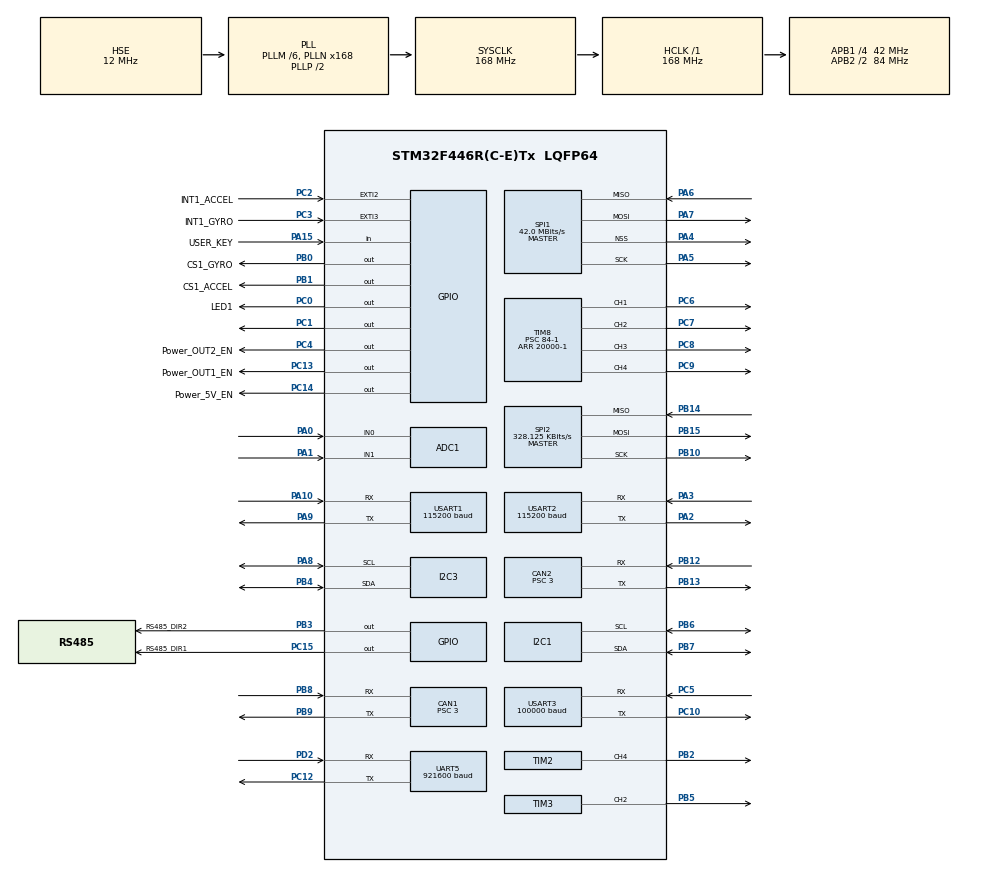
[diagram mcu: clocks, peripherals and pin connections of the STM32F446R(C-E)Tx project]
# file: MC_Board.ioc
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ADC1.Channel-0\#ChannelRegularConversion=ADC_CHANNEL_0
ADC1.NbrOfConversionFlag=1
ADC1.Rank-0\#ChannelRegularConversion=1
ADC1.SamplingTime-0\#ChannelRegularConversion=ADC_SAMPLETIME_3CYCLES
ADC1.master=1
CAN1.ABOM=ENABLE
CAN1.BS1=CAN_BS1_10TQ
CAN1.BS2=CAN_BS2_3TQ
CAN1.CalculateBaudRate=1000000
CAN1.CalculateTimeBit=1000
CAN1.CalculateTimeQuantum=71.42857142857143
CAN1.NART=ENABLE
CAN1.Prescaler=3
CAN1.SJW=CAN_SJW_1TQ
CAN2.BS1=CAN_BS1_10TQ
CAN2.BS2=CAN_BS2_3TQ
CAN2.CalculateBaudRate=1000000
CAN2.CalculateTimeBit=1000
CAN2.CalculateTimeQuantum=71.42857142857143
CAN2.Prescaler=3
CAN2.SJW=CAN_SJW_2TQ
Dma.Request0=USART2_TX
Dma.Request1=USART2_RX
Dma.Request2=SPI2_RX
Dma.Request3=SPI2_TX
Dma.Request4=UART5_RX
Dma.Request5=UART5_TX
Dma.SPI2_RX.2.Direction=DMA_PERIPH_TO_MEMORY
Dma.SPI2_RX.2.FIFOMode=DMA_FIFOMODE_DISABLE
Dma.SPI2_RX.2.Instance=DMA1_Stream3
Dma.SPI2_RX.2.MemDataAlignment=DMA_MDATAALIGN_BYTE
Dma.SPI2_RX.2.MemInc=DMA_MINC_ENABLE
Dma.SPI2_RX.2.Mode=DMA_NORMAL
Dma.SPI2_RX.2.PeriphDataAlignment=DMA_PDATAALIGN_BYTE
Dma.SPI2_RX.2.PeriphInc=DMA_PINC_DISABLE
Dma.SPI2_RX.2.Priority=DMA_PRIORITY_VERY_HIGH
Dma.SPI2_TX.3.Direction=DMA_MEMORY_TO_PERIPH
Dma.SPI2_TX.3.FIFOMode=DMA_FIFOMODE_DISABLE
Dma.SPI2_TX.3.Instance=DMA1_Stream4
Dma.SPI2_TX.3.MemDataAlignment=DMA_MDATAALIGN_BYTE
Dma.SPI2_TX.3.MemInc=DMA_MINC_ENABLE
Dma.SPI2_TX.3.Mode=DMA_NORMAL
Dma.SPI2_TX.3.PeriphDataAlignment=DMA_PDATAALIGN_BYTE
Dma.SPI2_TX.3.PeriphInc=DMA_PINC_DISABLE
Dma.SPI2_TX.3.Priority=DMA_PRIORITY_HIGH
Dma.UART5_RX.4.Direction=DMA_PERIPH_TO_MEMORY
Dma.UART5_RX.4.FIFOMode=DMA_FIFOMODE_DISABLE
Dma.UART5_RX.4.Instance=DMA1_Stream0
Dma.UART5_RX.4.MemDataAlignment=DMA_MDATAALIGN_BYTE
Dma.UART5_RX.4.MemInc=DMA_MINC_ENABLE
Dma.UART5_RX.4.Mode=DMA_NORMAL
Dma.UART5_RX.4.PeriphDataAlignment=DMA_PDATAALIGN_BYTE
Dma.UART5_RX.4.PeriphInc=DMA_PINC_DISABLE
Dma.UART5_RX.4.Priority=DMA_PRIORITY_VERY_HIGH
Dma.UART5_TX.5.Direction=DMA_MEMORY_TO_PERIPH
Dma.UART5_TX.5.FIFOMode=DMA_FIFOMODE_DISABLE
Dma.UART5_TX.5.Instance=DMA1_Stream7
Dma.UART5_TX.5.MemDataAlignment=DMA_MDATAALIGN_BYTE
Dma.UART5_TX.5.MemInc=DMA_MINC_ENABLE
Dma.UART5_TX.5.Mode=DMA_NORMAL
Dma.UART5_TX.5.PeriphDataAlignment=DMA_PDATAALIGN_BYTE
Dma.UART5_TX.5.PeriphInc=DMA_PINC_DISABLE
Dma.UART5_TX.5.Priority=DMA_PRIORITY_VERY_HIGH
Dma.USART2_RX.1.Direction=DMA_PERIPH_TO_MEMORY
Dma.USART2_RX.1.FIFOMode=DMA_FIFOMODE_DISABLE
Dma.USART2_RX.1.Instance=DMA1_Stream5
Dma.USART2_RX.1.MemDataAlignment=DMA_MDATAALIGN_BYTE
Dma.USART2_RX.1.MemInc=DMA_MINC_ENABLE
Dma.USART2_RX.1.Mode=DMA_NORMAL
Dma.USART2_RX.1.PeriphDataAlignment=DMA_PDATAALIGN_BYTE
Dma.USART2_RX.1.PeriphInc=DMA_PINC_DISABLE
Dma.USART2_RX.1.Priority=DMA_PRIORITY_MEDIUM
Dma.USART2_TX.0.Direction=DMA_MEMORY_TO_PERIPH
Dma.USART2_TX.0.FIFOMode=DMA_FIFOMODE_DISABLE
Dma.USART2_TX.0.Instance=DMA1_Stream6
Dma.USART2_TX.0.MemDataAlignment=DMA_MDATAALIGN_BYTE
Dma.USART2_TX.0.MemInc=DMA_MINC_ENABLE
Dma.USART2_TX.0.Mode=DMA_NORMAL
Dma.USART2_TX.0.PeriphDataAlignment=DMA_PDATAALIGN_BYTE
Dma.USART2_TX.0.PeriphInc=DMA_PINC_DISABLE
Dma.USART2_TX.0.Priority=DMA_PRIORITY_MEDIUM
FREERTOS.Tasks01=defaultTask,24,3000,StartDefaultTask,Default,NULL,Static,defaultTaskBuffer,defaultTaskControlBlock;LEDTask,8,128,StartTask02,Default,NULL,Dynamic,NULL,NULL;UART_TEST,8,256,StartTask03,Default,NULL,Dynamic,NULL,NULL
FREERTOS.configLIBRARY_MAX_SYSCALL_INTERRUPT_PRIORITY=5
FREERTOS.configTOTAL_HEAP_SIZE=46080
Mcu.Family=STM32F4
Mcu.Name=STM32F446R(C-E)Tx
Mcu.Package=LQFP64
NVIC.CAN1_RX0_IRQn=true\:3\:0\:true\:false\:true\:false\:true\:true\:true
NVIC.CAN1_TX_IRQn=true\:4\:0\:true\:false\:true\:false\:true\:true\:true
NVIC.CAN2_RX0_IRQn=true\:3\:0\:true\:false\:true\:false\:true\:true\:true
NVIC.CAN2_TX_IRQn=true\:4\:0\:true\:false\:true\:false\:true\:true\:true
NVIC.DMA1_Stream0_IRQn=true\:5\:0\:false\:false\:true\:true\:false\:true\:true
NVIC.DMA1_Stream3_IRQn=true\:5\:0\:false\:false\:false\:true\:false\:true\:true
NVIC.DMA1_Stream4_IRQn=true\:5\:0\:false\:false\:true\:true\:false\:true\:true
NVIC.DMA1_Stream5_IRQn=true\:5\:0\:false\:false\:true\:true\:false\:true\:true
NVIC.DMA1_Stream6_IRQn=true\:5\:0\:false\:false\:true\:true\:false\:true\:true
NVIC.DMA1_Stream7_IRQn=true\:5\:0\:false\:false\:true\:true\:false\:true\:true
NVIC.EXTI2_IRQn=true\:5\:0\:true\:false\:true\:false\:true\:true\:true
NVIC.EXTI3_IRQn=true\:5\:0\:true\:false\:true\:false\:true\:true\:true
NVIC.PriorityGroup=NVIC_PRIORITYGROUP_4
NVIC.TIM7_IRQn=true\:10\:0\:true\:false\:true\:false\:true\:true\:true
NVIC.TIM8_TRG_COM_TIM14_IRQn=true\:5\:0\:false\:false\:true\:false\:false\:true\:true
NVIC.UART5_IRQn=true\:5\:0\:true\:false\:true\:false\:true\:true\:true
NVIC.USART1_IRQn=true\:4\:0\:true\:false\:true\:false\:true\:true\:true
NVIC.USART2_IRQn=true\:4\:0\:true\:false\:true\:false\:true\:true\:true
NVIC.USART3_IRQn=true\:4\:0\:true\:false\:true\:false\:true\:true\:true
PA0-WKUP.GPIO_Mode=GPIO_MODE_ANALOG
PA0-WKUP.GPIO_PuPd=GPIO_NOPULL
PA0-WKUP.Signal=ADCx_IN0
PA1.GPIO_Mode=GPIO_MODE_ANALOG
PA1.GPIO_PuPd=GPIO_NOPULL
PA1.Signal=ADCx_IN1
PA10.Mode=Asynchronous
PA10.Signal=USART1_RX
PA13.Mode=Serial_Wire
PA13.Signal=SYS_JTMS-SWDIO
PA14.Mode=Serial_Wire
PA14.Signal=SYS_JTCK-SWCLK
PA15.GPIO_Label=USER_KEY
PA15.Signal=GPIO_Input
PA2.Mode=Asynchronous
PA2.Signal=USART2_TX
PA3.Mode=Asynchronous
PA3.Signal=USART2_RX
PA4.Mode=NSS_Signal_Hard_Output
PA4.Signal=SPI1_NSS
PA5.Mode=Full_Duplex_Master
PA5.Signal=SPI1_SCK
PA6.Mode=Full_Duplex_Master
PA6.Signal=SPI1_MISO
PA7.Mode=Full_Duplex_Master
PA7.Signal=SPI1_MOSI
PA8.GPIO_Pu=GPIO_PULLUP
PA8.Mode=I2C
PA8.Signal=I2C3_SCL
PA9.Mode=Asynchronous
PA9.Signal=USART1_TX
PB0.GPIO_Label=CS1_GYRO
PB0.GPIO_PuPd=GPIO_PULLUP
PB0.GPIO_Speed=GPIO_SPEED_FREQ_HIGH
PB0.Signal=GPIO_Output
PB1.GPIO_Label=CS1_ACCEL
PB1.GPIO_PuPd=GPIO_PULLUP
PB1.GPIO_Speed=GPIO_SPEED_FREQ_HIGH
PB1.Signal=GPIO_Output
PB10.Mode=Full_Duplex_Master
PB10.Signal=SPI2_SCK
PB12.Mode=CAN_Activate
PB12.Signal=CAN2_RX
PB13.Mode=CAN_Activate
PB13.Signal=CAN2_TX
PB14.Mode=Full_Duplex_Master
PB14.Signal=SPI2_MISO
PB15.Mode=Full_Duplex_Master
PB15.Signal=SPI2_MOSI
PB2.GPIO_ModeDefaultPP=GPIO_MODE_AF_PP
PB2.GPIO_PuPd=GPIO_NOPULL
PB2.GPIO_Speed=GPIO_SPEED_FREQ_LOW
PB2.Signal=S_TIM2_CH4
PB3.GPIO_Label=RS485_DIR2
PB3.GPIO_ModeDefaultOutputPP=GPIO_MODE_OUTPUT_PP
PB3.GPIO_PuPd=GPIO_NOPULL
PB3.GPIO_Speed=GPIO_SPEED_FREQ_LOW
PB3.PinState=GPIO_PIN_RESET
PB3.Signal=GPIO_Output
PB4.GPIO_Pu=GPIO_PULLUP
PB4.Mode=I2C
PB4.Signal=I2C3_SDA
PB5.GPIO_PuPd=GPIO_PULLDOWN
PB5.Signal=S_TIM3_CH2
PB6.GPIO_Pu=GPIO_PULLUP
PB6.Mode=I2C
PB6.Signal=I2C1_SCL
PB7.GPIO_Pu=GPIO_PULLUP
PB7.Mode=I2C
PB7.Signal=I2C1_SDA
PB8.Mode=CAN_Activate
PB8.Signal=CAN1_RX
PB9.Mode=CAN_Activate
PB9.Signal=CAN1_TX
PC0.GPIO_Label=LED1
PC0.GPIO_ModeDefaultOutputPP=GPIO_MODE_OUTPUT_PP
PC0.GPIO_PuPd=GPIO_NOPULL
PC0.GPIO_Speed=GPIO_SPEED_FREQ_LOW
PC0.PinState=GPIO_PIN_RESET
PC0.Signal=GPIO_Output
PC1.Signal=GPIO_Output
PC10.Mode=Asynchronous
PC10.Signal=USART3_TX
PC12.Mode=Asynchronous
PC12.Signal=UART5_TX
PC13.GPIO_Label=Power_OUT1_EN
PC13.GPIO_ModeDefaultOutputPP=GPIO_MODE_OUTPUT_PP
PC13.GPIO_PuPd=GPIO_NOPULL
PC13.GPIO_Speed=GPIO_SPEED_FREQ_LOW
PC13.PinState=GPIO_PIN_RESET
PC13.Signal=GPIO_Output
PC14-OSC32_IN.GPIO_Label=Power_5V_EN
PC14-OSC32_IN.GPIO_ModeDefaultOutputPP=GPIO_MODE_OUTPUT_PP
PC14-OSC32_IN.GPIO_PuPd=GPIO_NOPULL
PC14-OSC32_IN.GPIO_Speed=GPIO_SPEED_FREQ_LOW
PC14-OSC32_IN.PinState=GPIO_PIN_RESET
PC14-OSC32_IN.Signal=GPIO_Output
PC15-OSC32_OUT.GPIO_Label=RS485_DIR1
PC15-OSC32_OUT.GPIO_ModeDefaultOutputPP=GPIO_MODE_OUTPUT_PP
PC15-OSC32_OUT.GPIO_PuPd=GPIO_NOPULL
PC15-OSC32_OUT.GPIO_Speed=GPIO_SPEED_FREQ_LOW
PC15-OSC32_OUT.PinState=GPIO_PIN_RESET
PC15-OSC32_OUT.Signal=GPIO_Output
PC2.GPIO_Label=INT1_ACCEL
PC2.Signal=GPXTI2
PC3.GPIO_Label=INT1_GYRO
PC3.Signal=GPXTI3
PC4.GPIO_Label=Power_OUT2_EN
PC4.Signal=GPIO_Output
PC5.GPIO_PuPd=GPIO_NOPULL
PC5.Mode=Asynchronous
PC5.Signal=USART3_RX
PC6.Signal=S_TIM8_CH1
PC7.Signal=S_TIM8_CH2
PC8.Signal=S_TIM8_CH3
PC9.Signal=S_TIM8_CH4
PD2.Mode=Asynchronous
PD2.Signal=UART5_RX
PH0-OSC_IN.Mode=HSE-External-Oscillator
PH0-OSC_IN.Signal=RCC_OSC_IN
PH1-OSC_OUT.Mode=HSE-External-Oscillator
PH1-OSC_OUT.Signal=RCC_OSC_OUT
ProjectManager.HeapSize=0x3000
ProjectManager.StackSize=0x5000
ProjectManager.TargetToolchain=MDK-ARM V5.32
RCC.AHBFreq_Value=168000000
RCC.APB1CLKDivider=RCC_HCLK_DIV4
RCC.APB1Freq_Value=42000000
RCC.APB1TimFreq_Value=84000000
RCC.APB2CLKDivider=RCC_HCLK_DIV2
RCC.APB2Freq_Value=84000000
RCC.APB2TimFreq_Value=168000000
RCC.CortexFreq_Value=168000000
RCC.HCLKFreq_Value=168000000
RCC.HSE_VALUE=12000000
RCC.PLLM=6
RCC.PLLN=168
RCC.PLLQ=7
RCC.PLLSAIM=6
RCC.PLLSAIN=96
RCC.PLLSAIP=RCC_PLLSAIP_DIV4
RCC.PLLSourceVirtual=RCC_PLLSOURCE_HSE
RCC.SYSCLKFreq_VALUE=168000000
RCC.SYSCLKSource=RCC_SYSCLKSOURCE_PLLCLK
RCC.USBFreq_Value=48000000
RCC.VCOOutputFreq_Value=336000000
SH.ADCx_IN0.0=ADC1_IN0,IN0
SH.ADCx_IN1.0=ADC1_IN1,IN1
SH.S_TIM2_CH4.0=TIM2_CH4,PWM Generation4 CH4
SH.S_TIM3_CH2.0=TIM3_CH2,PWM Generation2 CH2
SH.S_TIM8_CH1.0=TIM8_CH1,PWM Generation1 CH1
SH.S_TIM8_CH2.0=TIM8_CH2,PWM Generation2 CH2
SH.S_TIM8_CH3.0=TIM8_CH3,PWM Generation3 CH3
SH.S_TIM8_CH4.0=TIM8_CH4,PWM Generation4 CH4
SPI1.BaudRatePrescaler=SPI_BAUDRATEPRESCALER_2
SPI1.CalculateBaudRate=42.0 MBits/s
SPI1.Direction=SPI_DIRECTION_2LINES
SPI1.Mode=SPI_MODE_MASTER
SPI1.VirtualNSS=VM_NSSHARD
SPI1.VirtualType=VM_MASTER
SPI2.BaudRatePrescaler=SPI_BAUDRATEPRESCALER_128
SPI2.CLKPhase=SPI_PHASE_2EDGE
SPI2.CLKPolarity=SPI_POLARITY_HIGH
SPI2.CalculateBaudRate=328.125 KBits/s
SPI2.Direction=SPI_DIRECTION_2LINES
SPI2.Mode=SPI_MODE_MASTER
SPI2.VirtualType=VM_MASTER
TIM2.AutoReloadPreload=TIM_AUTORELOAD_PRELOAD_ENABLE
TIM2.Channel-PWM\ Generation4\ CH4=TIM_CHANNEL_4
TIM2.Period=20000-1
TIM2.Prescaler=42 - 1
TIM3.Channel-PWM\ Generation2\ CH2=TIM_CHANNEL_2
TIM3.Period=4999
TIM7.Period=1000 - 1
TIM7.Prescaler=84 - 1
TIM8.Channel-PWM\ Generation1\ CH1=TIM_CHANNEL_1
TIM8.Channel-PWM\ Generation2\ CH2=TIM_CHANNEL_2
TIM8.Channel-PWM\ Generation3\ CH3=TIM_CHANNEL_3
TIM8.Channel-PWM\ Generation4\ CH4=TIM_CHANNEL_4
TIM8.Period=20000-1
TIM8.Prescaler=84-1
UART5.BaudRate=921600
UART5.VirtualMode=Asynchronous
USART1.BaudRate=115200
USART1.VirtualMode=VM_ASYNC
USART2.BaudRate=115200
USART2.VirtualMode=VM_ASYNC
USART3.BaudRate=100000
USART3.Mode=MODE_RX
USART3.Parity=PARITY_EVEN
USART3.StopBits=STOPBITS_2
USART3.VirtualMode=VM_ASYNC
USART3.WordLength=WORDLENGTH_9B
VP_FREERTOS_VS_CMSIS_V2.Mode=CMSIS_V2
VP_TIM2_VS_ClockSourceINT.Mode=Internal
VP_TIM7_VS_ClockSourceINT.Mode=Enable_Timer
board=custom

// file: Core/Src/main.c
/* USER CODE BEGIN Header */
/**
  ******************************************************************************
  * @file           : main.c
  * @brief          : Main program body
  ******************************************************************************
  * @attention
  *
  * Copyright (c) 2025 STMicroelectronics.
  * All rights reserved.
  *
  * This software is licensed under terms that can be found in the LICENSE file
  * in the root directory of this software component.
  * If no LICENSE file comes with this software, it is provided AS-IS.
  *
  ******************************************************************************
  */
/* USER CODE END Header */
#include "main.h"
#include "cmsis_os.h"
#include "adc.h"
#include "can.h"
#include "dma.h"
#include "i2c.h"
#include "spi.h"
#include "tim.h"
#include "usart.h"
#include "gpio.h"

void SystemClock_Config(void);
void MX_FREERTOS_Init(void);
/* USER CODE BEGIN PFP */
void SystemClock_PreConfig(void);
void SystemClock_PostConfig(void);
/* USER CODE END PFP */

int main(void)
{

  /* MCU Configuration--------------------------------------------------------*/

  /* Reset of all peripherals, Initializes the Flash interface and the Systick. */
  HAL_Init();

  /* USER CODE BEGIN Init */
  SystemClock_PreConfig();
  /* USER CODE END Init */

  /* Configure the system clock */
  SystemClock_Config();

  /* USER CODE BEGIN SysInit */
  SystemClock_PostConfig();

  /* USER CODE END SysInit */

  /* Initialize all configured peripherals */
  MX_GPIO_Init();
  MX_DMA_Init();
  MX_CAN1_Init();
  MX_CAN2_Init();
  MX_SPI1_Init();
  MX_UART5_Init();
  MX_USART1_UART_Init();
  MX_ADC1_Init();
  MX_I2C1_Init();
  MX_TIM8_Init();
  MX_I2C3_Init();
  MX_SPI2_Init();
  MX_USART2_UART_Init();
  MX_TIM3_Init();
  MX_TIM2_Init();
  MX_TIM7_Init();
  MX_USART3_UART_Init();

  /* Init scheduler */
  osKernelInitialize();  /* Call init function for freertos objects (in cmsis_os2.c) */
  MX_FREERTOS_Init();

  /* Start scheduler */
  osKernelStart();

  /* We should never get here as control is now taken by the scheduler */

  /* Infinite loop */
  while (1)
  {

  }
}

void SystemClock_Config(void)
{
  RCC_OscInitTypeDef RCC_OscInitStruct = {0};
  RCC_ClkInitTypeDef RCC_ClkInitStruct = {0};

  /** Configure the main internal regulator output voltage
  */
  __HAL_RCC_PWR_CLK_ENABLE();
  __HAL_PWR_VOLTAGESCALING_CONFIG(PWR_REGULATOR_VOLTAGE_SCALE1);

  /** Initializes the RCC Oscillators according to the specified parameters
  * in the RCC_OscInitTypeDef structure.
  */
  RCC_OscInitStruct.OscillatorType = RCC_OSCILLATORTYPE_HSE;
  RCC_OscInitStruct.HSEState = RCC_HSE_ON;
  RCC_OscInitStruct.PLL.PLLState = RCC_PLL_ON;
  RCC_OscInitStruct.PLL.PLLSource = RCC_PLLSOURCE_HSE;
  RCC_OscInitStruct.PLL.PLLM = 6;
  RCC_OscInitStruct.PLL.PLLN = 168;
  RCC_OscInitStruct.PLL.PLLP = RCC_PLLP_DIV2;
  RCC_OscInitStruct.PLL.PLLQ = 7;
  RCC_OscInitStruct.PLL.PLLR = 2;
  if (HAL_RCC_OscConfig(&RCC_OscInitStruct) != HAL_OK)
  {
    Error_Handler();
  }

  /** Initializes the CPU, AHB and APB buses clocks
  */
  RCC_ClkInitStruct.ClockType = RCC_CLOCKTYPE_HCLK|RCC_CLOCKTYPE_SYSCLK
                              |RCC_CLOCKTYPE_PCLK1|RCC_CLOCKTYPE_PCLK2;
  RCC_ClkInitStruct.SYSCLKSource = RCC_SYSCLKSOURCE_PLLCLK;
  RCC_ClkInitStruct.AHBCLKDivider = RCC_SYSCLK_DIV1;
  RCC_ClkInitStruct.APB1CLKDivider = RCC_HCLK_DIV4;
  RCC_ClkInitStruct.APB2CLKDivider = RCC_HCLK_DIV2;

  if (HAL_RCC_ClockConfig(&RCC_ClkInitStruct, FLASH_LATENCY_5) != HAL_OK)
  {
    Error_Handler();
  }
}

/* USER CODE BEGIN 4 */
/**
 * @brief 将时钟源选择为内部时钟，避免Clion的Debug模式无法使能锁相环
 */
void SystemClock_PreConfig(void) {
  RCC_ClkInitTypeDef RCC_ClkInitStruct = {0};
  RCC_ClkInitStruct.ClockType = RCC_CLOCKTYPE_SYSCLK;
  RCC_ClkInitStruct.SYSCLKSource = RCC_SYSCLKSOURCE_HSI;
  if (HAL_RCC_ClockConfig(&RCC_ClkInitStruct, FLASH_LATENCY_5) != HAL_OK) {
    Error_Handler();
  }
}

void SystemClock_PostConfig(void) {
  RCC_OscInitTypeDef RCC_OscInitStruct = {0};
  RCC_OscInitStruct.OscillatorType = RCC_OSCILLATORTYPE_HSI;
  RCC_OscInitStruct.HSIState = RCC_HSI_OFF;
  RCC_OscInitStruct.PLL.PLLState = RCC_PLL_NONE;
  if(HAL_RCC_OscConfig(&RCC_OscInitStruct) != HAL_OK) {
    Error_Handler();
  }
}

/* configSUPPORT_STATIC_ALLOCATION is set to 1, so the application must provide an
 * implementation of vApplicationGetIdleTaskMemory() to provide the memory that is
 * used by the Idle task. */
void vApplicationGetIdleTaskMemory( StaticTask_t **ppxIdleTaskTCBBuffer,
                                    StackType_t **ppxIdleTaskStackBuffer,
                                    uint32_t *pulIdleTaskStackSize )
{
  /* If the buffers to be provided to the Idle task are declared inside this
   * function then they must be declared static - otherwise they will be allocated on
   * the stack and so not exist after this function returns. */
  static StaticTask_t xIdleTaskTCB;
  static StackType_t uxIdleTaskStack[ configMINIMAL_STACK_SIZE ];

  *ppxIdleTaskTCBBuffer = &xIdleTaskTCB;
  *ppxIdleTaskStackBuffer = uxIdleTaskStack;
  *pulIdleTaskStackSize = configMINIMAL_STACK_SIZE;
}

/* configSUPPORT_STATIC_ALLOCATION and configUSE_TIMERS are both set to 1, so the
 * application must provide an implementation of vApplicationGetTimerTaskMemory()
 * to provide the memory that is used by the Timer service task. */
void vApplicationGetTimerTaskMemory( StaticTask_t **ppxTimerTaskTCBBuffer,
                                     StackType_t **ppxTimerTaskStackBuffer,
                                     uint32_t *pulTimerTaskStackSize )
{
  /* If the buffers to be provided to the Timer task are declared inside this
   * function then they must be declared static - otherwise they will be allocated on
   * the stack and so not exist after this function returns. */
  static StaticTask_t xTimerTaskTCB;
  static StackType_t uxTimerTaskStack[ configTIMER_TASK_STACK_DEPTH ];

  *ppxTimerTaskTCBBuffer = &xTimerTaskTCB;
  *ppxTimerTaskStackBuffer = uxTimerTaskStack;
  *pulTimerTaskStackSize = configTIMER_TASK_STACK_DEPTH;
}
/* USER CODE END 4 */

void Error_Handler(void)
{
  __disable_irq();
  while (1)
  {
  }
}

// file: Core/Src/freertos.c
/* USER CODE BEGIN Header */
/**
  ******************************************************************************
  * File Name          : freertos.c
  * Description        : Code for freertos applications
  ******************************************************************************
  * @attention
  *
  * Copyright (c) 2025 STMicroelectronics.
  * All rights reserved.
  *
  * This software is licensed under terms that can be found in the LICENSE file
  * in the root directory of this software component.
  * If no LICENSE file comes with this software, it is provided AS-IS.
  *
  ******************************************************************************
  */
/* USER CODE END Header */

#include "FreeRTOS.h"
#include "task.h"
#include "main.h"
#include "cmsis_os.h"

/* USER CODE BEGIN Includes */
#include <stdbool.h>
#include <string.h>
#include <stdio.h>
#include "cmsis_os2.h"
#include "usart.h" // 确保包含了 huart5 的头文件

// --- micro-ROS includes ---

#include <rcl/rcl.h>
#include <rcl/error_handling.h>
#include <rclc/rclc.h>
#include <rclc/executor.h>
#include <rmw_microros/rmw_microros.h>

// --- ROS Message includes ---
#include <std_msgs/msg/header.h>
#include <std_msgs/msg/int32.h>

// --- [关键修正] 包含 POSIX 头文件 ---
#include <time.h> // for clock_gettime
#include "unistd.h" // for usleep
/* USER CODE END Includes */

typedef StaticTask_t osStaticThreadDef_t;

/* USER CODE BEGIN PD */
#define LED_PORT    GPIOC
#define LED_PIN     GPIO_PIN_0

/* USER CODE END PD */

/* USER CODE BEGIN Variables */
osSemaphoreId_t uartRxSemaphoreHandle;
const osSemaphoreAttr_t uartRxSemaphore_attributes = {
	.name = "uartRxSemaphore"
  };

// [新增] 用于存储从 UART 接收到的单个字符的缓冲区
uint8_t rx_char_buffer[1];
/* USER CODE END Variables */
/* Definitions for defaultTask */
osThreadId_t defaultTaskHandle;
uint32_t defaultTaskBuffer[ 3000 ];
osStaticThreadDef_t defaultTaskControlBlock;
const osThreadAttr_t defaultTask_attributes = {
  .name = "defaultTask",
  .cb_mem = &defaultTaskControlBlock,
  .cb_size = sizeof(defaultTaskControlBlock),
  .stack_mem = &defaultTaskBuffer[0],
  .stack_size = sizeof(defaultTaskBuffer),
  .priority = (osPriority_t) osPriorityNormal,
};
/* Definitions for LEDTask */
osThreadId_t LEDTaskHandle;
const osThreadAttr_t LEDTask_attributes = {
  .name = "LEDTask",
  .stack_size = 128 * 4,
  .priority = (osPriority_t) osPriorityLow,
};
/* Definitions for UART_TEST */
osThreadId_t UART_TESTHandle;
const osThreadAttr_t UART_TEST_attributes = {
  .name = "UART_TEST",
  .stack_size = 256 * 4,
  .priority = (osPriority_t) osPriorityLow,
};

/* USER CODE BEGIN FunctionPrototypes */
bool cubemx_transport_open(struct uxrCustomTransport * transport);
bool cubemx_transport_close(struct uxrCustomTransport * transport);
size_t cubemx_transport_write(struct uxrCustomTransport* transport, const uint8_t * buf, size_t len, uint8_t * err);
size_t cubemx_transport_read(struct uxrCustomTransport* transport, uint8_t* buf, size_t len, int timeout, uint8_t* err);

void * microros_allocate(size_t size, void * state);
void microros_deallocate(void * pointer, void * state);
void * microros_reallocate(void * pointer, size_t size, void * state);
void * microros_zero_allocate(size_t number_of_elements, size_t size_of_element, void * state);
/* USER CODE END FunctionPrototypes */

void StartDefaultTask(void *argument);
void StartTask02(void *argument);
void StartTask03(void *argument);

void MX_FREERTOS_Init(void); /* (MISRA C 2004 rule 8.1) */

void MX_FREERTOS_Init(void) {

  /* USER CODE BEGIN RTOS_SEMAPHORES */
  /* add semaphores, ... */
	/* [新增] 创建用于 UART 接收的二进制信号量 */
	uartRxSemaphoreHandle = osSemaphoreNew(1, 0, &uartRxSemaphore_attributes);
  /* USER CODE END RTOS_SEMAPHORES */

  /* Create the thread(s) */
  /* creation of defaultTask */
  defaultTaskHandle = osThreadNew(StartDefaultTask, NULL, &defaultTask_attributes);

  /* creation of LEDTask */
  LEDTaskHandle = osThreadNew(StartTask02, NULL, &LEDTask_attributes);

  /* creation of UART_TEST */
  // UART_TESTHandle = osThreadNew(StartTask03, NULL, &UART_TEST_attributes);

}

void StartDefaultTask(void *argument)
{
  /* USER CODE BEGIN StartDefaultTask */
	/* Infinite loop */
	// micro-ROS configuration

	rmw_uros_set_custom_transport(
			true,
			(void *) &huart5,
			cubemx_transport_open,
			cubemx_transport_close,
			cubemx_transport_write,
			cubemx_transport_read);

	rcl_allocator_t freeRTOS_allocator = rcutils_get_zero_initialized_allocator();
	freeRTOS_allocator.allocate = microros_allocate;
	freeRTOS_allocator.deallocate = microros_deallocate;
	freeRTOS_allocator.reallocate = microros_reallocate;
	freeRTOS_allocator.zero_allocate =  microros_zero_allocate;

	if (!rcutils_set_default_allocator(&freeRTOS_allocator)) {
		while(1){
			HAL_GPIO_TogglePin(LED_PORT, LED_PIN);
			osDelay(200);
		}
	}

	// micro-ROS app

	rcl_allocator_t allocator;
	allocator = rcl_get_default_allocator();

	//create init_options
	rclc_support_t support;
	// char* _argv[] = {NULL};

	volatile rcl_ret_t ret;

	// if (ret != RCL_RET_OK)
	// {
	// 	// 初始化失败，进入死循环并快速闪烁LED报错
	do {
		ret = rclc_support_init(&support, 0, NULL, &allocator);
		if (ret != RCL_RET_OK) {
			osDelay(1000); // 延时 1 秒再试
		}
	} while (ret != RCL_RET_OK);
	// }
	// create node
	// rclc_node_init_default(&node, "cubemx_node", "", &support);
	if (ret != RCL_RET_OK) {
		ret = rclc_support_init(&support, 0, NULL, &allocator);
	}

	rcl_publisher_t publisher;
	std_msgs__msg__Int32 msg;

	rcl_node_t node;
	ret = rclc_node_init_default(&node, "cubemx_node", "", &support);

	// if (ret != RCL_RET_OK)
	// {
	// 	// 初始化失败，进入死循环并快速闪烁LED报错
	// 	// 节点创建失败 (闪2次)
	// 	while(1){
	// 		HAL_GPIO_TogglePin(LED_PORT, LED_PIN); osDelay(100);
	// 		HAL_GPIO_TogglePin(LED_PORT, LED_PIN); osDelay(100);
	// 		HAL_GPIO_TogglePin(LED_PORT, LED_PIN); osDelay(100);
	// 		HAL_GPIO_TogglePin(LED_PORT, LED_PIN); osDelay(700);
	// 	}
	// }
	// create publisher
	ret = rclc_publisher_init_default(
	  &publisher,
	  &node,
	  ROSIDL_GET_MSG_TYPE_SUPPORT(std_msgs, msg, Int32),
	  "cube_node");
	// if (ret != RCL_RET_OK)
	// {
	// 	// 发布者创建失败 (闪3次)
	// 	while(1){
	// 		HAL_GPIO_TogglePin(LED_PORT, LED_PIN); osDelay(100);
	// 		HAL_GPIO_TogglePin(LED_PORT, LED_PIN); osDelay(100);
	// 		HAL_GPIO_TogglePin(LED_PORT, LED_PIN); osDelay(100);
	// 		HAL_GPIO_TogglePin(LED_PORT, LED_PIN); osDelay(100);
	// 		HAL_GPIO_TogglePin(LED_PORT, LED_PIN); osDelay(100);
	// 		HAL_GPIO_TogglePin(LED_PORT, LED_PIN); osDelay(500);
	// 	}
	// }
	msg.data = 0;

	for(;;)
	{
	    ret = rcl_publish(&publisher, &msg, NULL);
		// if (ret != RCL_RET_OK)
		// {
		// 	// 发布失败。在循环中，我们通常不希望系统卡死。
		// 	// 可以在这里做一个短暂的、不那么激进的报错提示，
		// 	// 比如让LED快速闪一下，然后继续尝试。
		// 	// 如果 Agent 断开连接，这里会持续报错。
		// 	HAL_GPIO_WritePin(LED_PORT, LED_PIN, GPIO_PIN_SET);
		// 	osDelay(10);
		// 	HAL_GPIO_WritePin(LED_PORT, LED_PIN, GPIO_PIN_RESET);
		// }
		msg.data++;
		osDelay(100);
	}
  /* USER CODE END StartDefaultTask */
}

void StartTask02(void *argument)
{
  /* USER CODE BEGIN StartTask02 */
  /* Infinite loop */
  for(;;)
  {
  	// 翻转 LED 状态
  	HAL_GPIO_TogglePin(LED_PORT, LED_PIN);

  	// 延时 500ms，实现 1Hz 闪烁
  	osDelay(500);
  }
  /* USER CODE END StartTask02 */
}

void StartTask03(void *argument)
{
	/* [修改] 整个任务逻辑更新为回显功能 */
	/* USER CODE BEGIN StartTask03 */
	char tx_buffer[100];
	uint32_t heartbeat_counter = 0;

	// 1. 首次启动 UART 中断接收，准备接收 1 个字节到全局的 rx_char_buffer 中
	//    这是一个非阻塞函数，它会立即返回
	HAL_UART_Receive_IT(&huart5, rx_char_buffer, 1);

	/* Infinite loop */
	for(;;)
	{
		// 2. 尝试获取信号量，设置 2000ms (2秒) 的超时
		//    任务将在此处阻塞，直到中断发生或超时
		osStatus_t status = osSemaphoreAcquire(uartRxSemaphoreHandle, 2000);

		if (status == osOK)
		{
			// --- 情况 A: 成功获取信号量 ---
			// 这意味着 HAL_UART_RxCpltCallback 中断被触发，我们收到了一个字符

			// a. 构建回显消息
			sprintf(tx_buffer, "Echo: %c\r\n", rx_char_buffer[0]);

			// b. 将回显消息通过 UART5 发送回去
			HAL_UART_Transmit(&huart5, (uint8_t*)tx_buffer, strlen(tx_buffer), 100);

			// c. [关键步骤] 再次开启中断接收，为接收下一个字符做准备
			HAL_UART_Receive_IT(&huart5, rx_char_buffer, 1);
		}
		else if (status == osErrorTimeout)
		{
			// --- 情况 B: 等待超时 ---
			// 这意味着在过去的 2 秒内，我们没有收到任何来自 Linux 的数据

			// 发送一条心跳消息，证明 MCU 仍在正常运行
			sprintf(tx_buffer, "Heartbeat... count: %lu\r\n", heartbeat_counter++);
			HAL_UART_Transmit(&huart5, (uint8_t*)tx_buffer, strlen(tx_buffer), 100);
		}
	}
	/* USER CODE END StartTask03 */
}

/* USER CODE BEGIN Application */
/**
  * @brief Rx Transfer completed callback.
  * @param huart UART handle.
  * @retval None
  */
// void HAL_UART_RxCpltCallback(UART_HandleTypeDef *huart)
// {
// 	// 检查是否是 UART5 触发的中断
// 	if (huart->Instance == UART5)
// 	{
// 		// 释放信号量，以唤醒正在等待的 StartTask03
// 		osSemaphoreRelease(uartRxSemaphoreHandle);
// 	}
// }
/* USER CODE END Application */
